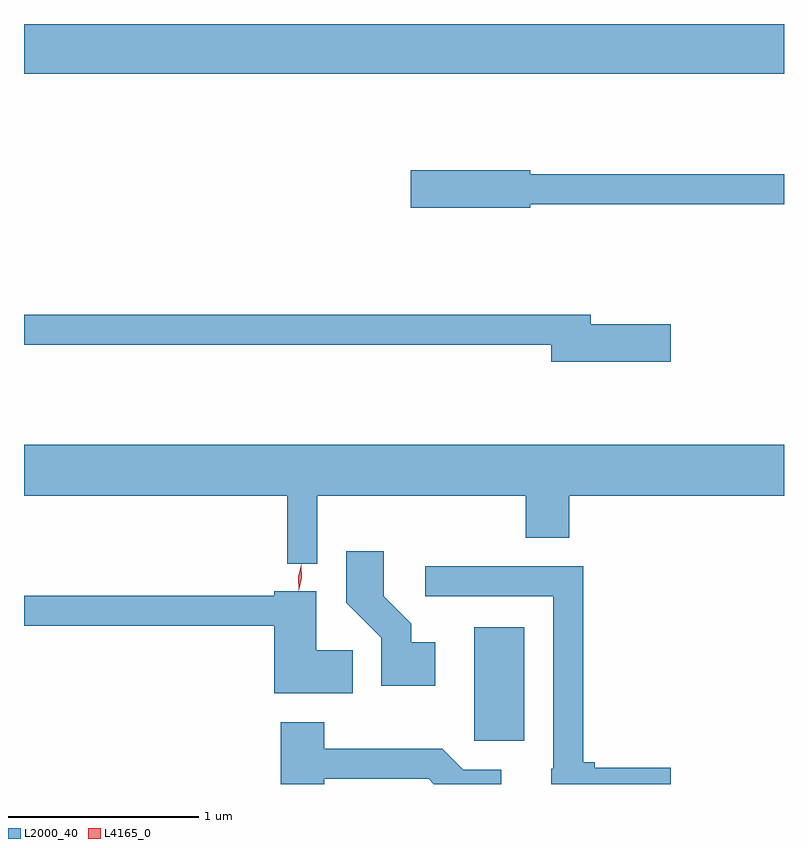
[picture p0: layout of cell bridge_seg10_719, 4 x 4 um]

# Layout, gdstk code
import gdstk
lib = gdstk.Library(unit=1e-6, precision=1e-09)
def R(c, l, rs):  # rectangles x0, y0, x1, y1
    for r in rs: c.add(gdstk.rectangle(r[:2], r[2:], *l))
def P(c, l, *ps):  # polygons
    for p in ps: c.add(gdstk.Polygon(p, *l))
L2000_40 = (2000, 40)
L4165_0 = (4165, 0)

bridge_seg10_719 = lib.new_cell('bridge_seg10_719')
R(bridge_seg10_719, L2000_40, [(628.891,2185.886,629.154,2186.484), (626.52,2189.396,630.52,2189.659)])
P(bridge_seg10_719, L2000_40, [(629.184,2188.711),(630.52,2188.711),(630.52,2188.869),(629.184,2188.869),(629.184,2188.889),(628.556,2188.889),(628.556,2188.691),(629.184,2188.691)],
  [(629.924,2188.079),(629.504,2188.079),(629.504,2188.129),(626.52,2188.129),(626.52,2187.971),(629.296,2187.971),(629.296,2187.881),(629.924,2187.881)],
  [(628.064,2187.176),(629.161,2187.176),(629.161,2186.956),(629.389,2186.956),(629.389,2187.176),(630.52,2187.176),(630.52,2187.444),(626.52,2187.444),(626.52,2187.176),(627.906,2187.176),(627.906,2186.818),(628.064,2186.818)],
  [(628.684,2186.404),(628.559,2186.404),(628.559,2186.502),(628.414,2186.647),(628.414,2186.884),(628.216,2186.884),(628.216,2186.614),(628.401,2186.429),(628.401,2186.176),(628.684,2186.176)],
  [(629.924,2185.744),(629.524,2185.744),(629.524,2185.774),(629.464,2185.774),(629.464,2186.804),(628.633,2186.804),(628.633,2186.646),(629.306,2186.646),(629.306,2185.74),(629.296,2185.74),(629.296,2185.659),(629.924,2185.659)],
  [(628.249,2186.364),(628.059,2186.364),(628.059,2186.674),(627.836,2186.674),(627.836,2186.649),(626.52,2186.649),(626.52,2186.491),(627.836,2186.491),(627.836,2186.136),(628.249,2186.136)],
  [(628.099,2185.686),(628.649,2185.686),(628.676,2185.659),(629.033,2185.659),(629.033,2185.734),(628.832,2185.734),(628.722,2185.844),(628.099,2185.844),(628.099,2185.984),(627.871,2185.984),(627.871,2185.659),(628.099,2185.659)])
P(bridge_seg10_719, L4165_0, [(627.967,2186.676),(627.966,2186.677),(627.964,2186.746),(627.98,2186.814),(627.98,2186.815),(627.98,2186.814),(627.983,2186.745),(627.967,2186.677)])

lib.write_gds('bridge_seg10_719.gds')
